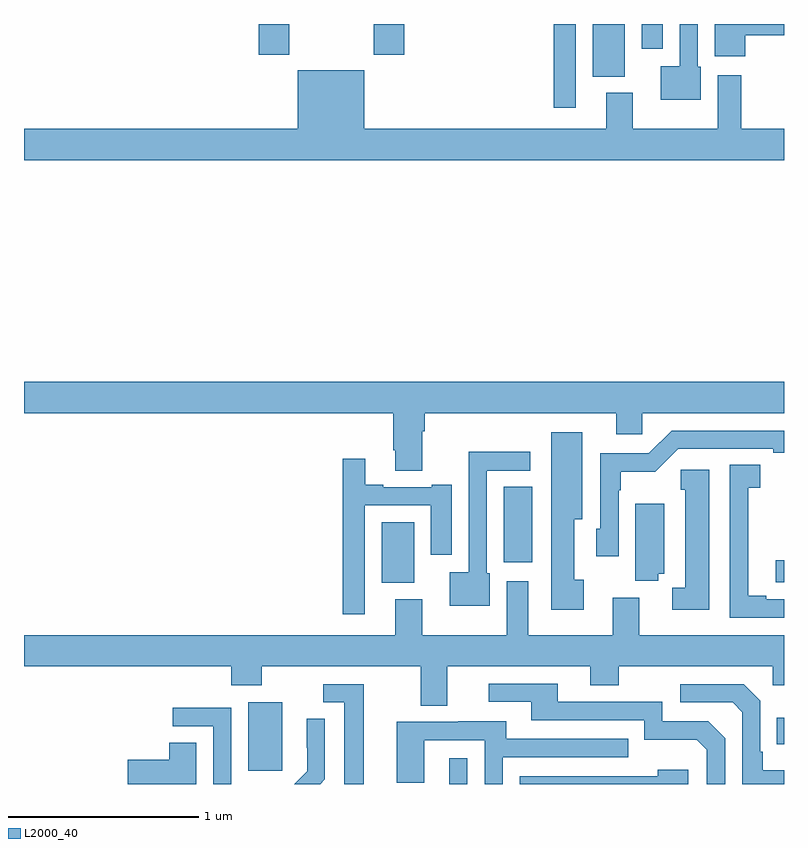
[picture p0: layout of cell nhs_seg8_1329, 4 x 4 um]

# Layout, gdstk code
import gdstk
lib = gdstk.Library(unit=1e-6, precision=1e-09)
def R(c, l, rs):  # rectangles x0, y0, x1, y1
    for r in rs: c.add(gdstk.rectangle(r[:2], r[2:], *l))
def P(c, l, *ps):  # polygons
    for p in ps: c.add(gdstk.Polygon(p, *l))
L2000_40 = (2000, 40)

nhs_seg8_1329 = lib.new_cell('nhs_seg8_1329')
R(nhs_seg8_1329, L2000_40, [(197.237,1095.9,197.334,1096.036), (196.181,1095.969,196.36,1096.33), (198.961,1096.109,199,1096.249), (196.883,1096.958,197.053,1097.278), (198.957,1096.963,199,1097.078), (197.525,1097.067,197.674,1097.465), (197.788,1099.458,197.904,1099.9), (197.993,1099.622,198.163,1099.9), (196.235,1099.737,196.395,1099.9), (196.84,1099.737,197,1099.9), (198.251,1099.77,198.361,1099.9)])
P(nhs_seg8_1329, L2000_40, [(198.797,1099.841),(199,1099.841),(199,1099.9),(198.635,1099.9),(198.635,1099.731),(198.797,1099.731)],
  [(198.562,1099.674),(198.546,1099.674),(198.546,1099.9),(198.45,1099.9),(198.45,1099.678),(198.35,1099.678),(198.35,1099.502),(198.562,1099.502)],
  [(199,1099.348),(198.776,1099.348),(198.776,1099.63),(198.65,1099.63),(198.65,1099.348),(198.205,1099.348),(198.205,1099.537),(198.065,1099.537),(198.065,1099.348),(196.792,1099.348),(196.792,1099.657),(196.442,1099.657),(196.442,1099.348),(195,1099.348),(195,1099.184),(199,1099.184)],
  [(197.095,1097.756),(197.108,1097.756),(197.108,1097.852),(198.116,1097.852),(198.116,1097.742),(198.255,1097.742),(198.255,1097.852),(199,1097.852),(199,1098.016),(195,1098.016),(195,1097.852),(196.943,1097.852),(196.943,1097.656),(196.955,1097.656),(196.955,1097.548),(197.095,1097.548)],
  [(198.129,1097.447),(198.142,1097.447),(198.142,1097.543),(198.323,1097.543),(198.444,1097.664),(198.944,1097.664),(198.944,1097.644),(199,1097.644),(199,1097.76),(198.408,1097.76),(198.288,1097.64),(198.033,1097.64),(198.033,1097.244),(198.012,1097.244),(198.012,1097.1),(198.129,1097.1)],
  [(197.947,1096.974),(197.896,1096.974),(197.896,1097.294),(197.938,1097.294),(197.938,1097.752),(197.774,1097.752),(197.774,1096.818),(197.947,1096.818)],
  [(197.452,1097.01),(197.436,1097.01),(197.436,1097.55),(197.665,1097.55),(197.665,1097.648),(197.34,1097.648),(197.34,1097.014),(197.24,1097.014),(197.24,1096.838),(197.452,1096.838)],
  [(196.794,1097.367),(197.141,1097.367),(197.141,1097.106),(197.251,1097.106),(197.251,1097.476),(197.147,1097.476),(197.147,1097.463),(196.891,1097.463),(196.891,1097.476),(196.795,1097.476),(196.795,1097.611),(196.678,1097.611),(196.678,1096.794),(196.794,1096.794)],
  [(199,1096.872),(198.907,1096.872),(198.907,1096.892),(198.811,1096.892),(198.811,1097.155),(198.813,1097.155),(198.813,1097.459),(198.874,1097.459),(198.874,1097.579),(198.714,1097.579),(198.714,1096.776),(199,1096.776)],
  [(198.607,1097.554),(198.457,1097.554),(198.457,1097.448),(198.479,1097.448),(198.479,1096.932),(198.411,1096.932),(198.411,1096.817),(198.607,1096.817)],
  [(198.338,1097.006),(198.37,1097.006),(198.37,1097.374),(198.218,1097.374),(198.218,1096.969),(198.338,1096.969)],
  [(197.227,1096.52),(197.981,1096.52),(197.981,1096.421),(198.129,1096.421),(198.129,1096.52),(198.942,1096.52),(198.942,1096.421),(199,1096.421),(199,1096.684),(198.238,1096.684),(198.238,1096.879),(198.098,1096.879),(198.098,1096.684),(197.653,1096.684),(197.653,1096.966),(197.54,1096.966),(197.54,1096.684),(197.095,1096.684),(197.095,1096.873),(196.955,1096.873),(196.955,1096.684),(195,1096.684),(195,1096.52),(196.091,1096.52),(196.091,1096.421),(196.251,1096.421),(196.251,1096.52),(197.087,1096.52),(197.087,1096.312),(197.227,1096.312)],
  [(198.69,1096.14),(198.6,1096.23),(198.36,1096.23),(198.36,1096.332),(197.809,1096.332),(197.809,1096.428),(197.445,1096.428),(197.445,1096.332),(197.669,1096.332),(197.669,1096.236),(198.264,1096.236),(198.264,1096.133),(198.541,1096.133),(198.594,1096.08),(198.594,1095.9),(198.69,1095.9)],
  [(196.789,1096.425),(196.575,1096.425),(196.575,1096.329),(196.685,1096.329),(196.685,1095.9),(196.789,1095.9)],
  [(199,1095.973),(198.889,1095.973),(198.889,1096.069),(198.876,1096.069),(198.876,1096.338),(198.789,1096.425),(198.453,1096.425),(198.453,1096.329),(198.729,1096.329),(198.78,1096.278),(198.78,1095.9),(199,1095.9)],
  [(196.092,1096.302),(195.783,1096.302),(195.783,1096.203),(195.996,1096.203),(195.996,1095.9),(196.092,1095.9)],
  [(196.584,1095.926),(196.584,1096.244),(196.488,1096.244),(196.488,1096.09),(196.49,1096.09),(196.49,1095.968),(196.422,1095.9),(196.558,1095.9)],
  [(197.52,1096.041),(198.179,1096.041),(198.179,1096.137),(197.539,1096.137),(197.539,1096.231),(197.285,1096.231),(197.285,1096.227),(196.961,1096.227),(196.961,1095.907),(197.106,1095.907),(197.106,1096.131),(197.424,1096.131),(197.424,1095.9),(197.52,1095.9)],
  [(195.907,1096.118),(195.764,1096.118),(195.764,1096.028),(195.546,1096.028),(195.546,1095.9),(195.907,1095.9)],
  [(198.496,1095.976),(198.335,1095.976),(198.335,1095.942),(197.61,1095.942),(197.61,1095.9),(198.496,1095.9)])

lib.write_gds('nhs_seg8_1329.gds')
